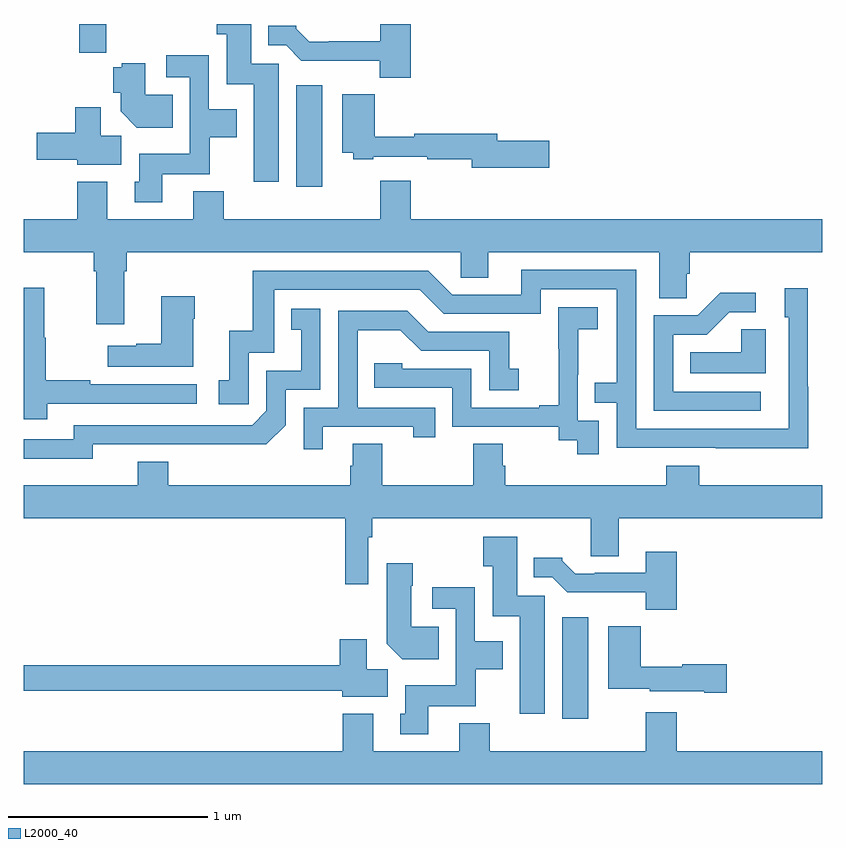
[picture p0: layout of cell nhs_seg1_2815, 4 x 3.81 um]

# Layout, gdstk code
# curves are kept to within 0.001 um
import gdstk
lib = gdstk.Library(unit=1e-6, precision=1e-09)
def R(c, l, rs):  # rectangles x0, y0, x1, y1
    for r in rs: c.add(gdstk.rectangle(r[:2], r[2:], *l))
def P(c, l, *ps):  # polygons
    for p in ps: c.add(gdstk.Polygon(p, *l))
L2000_40 = (2000, 40)

nhs_seg1_2815 = lib.new_cell('nhs_seg1_2815')
R(nhs_seg1_2815, L2000_40, [(265.697,558.72,265.828,559.228), (264.365,561.384,264.496,561.892), (264.509,562.198,264.649,562.199)])
P(nhs_seg1_2815, L2000_40, [(264.938,562.199),(264.785,562.199),(264.785,562.113),(264.529,562.113),(264.529,562.11),(264.43,562.11),(264.366,562.174),(264.366,562.189),(264.224,562.189),(264.224,562.092),(264.315,562.092),(264.391,562.016),(264.783,562.016),(264.783,561.929),(264.938,561.929)],
  [(263.413,562.168),(263.414,562.168),(263.414,562.199),(263.278,562.199),(263.278,562.056),(263.413,562.056)],
  [(264.277,561.999),(264.139,561.999),(264.139,562.199),(263.966,562.199),(263.966,562.147),(264.017,562.147),(264.017,561.896),(264.152,561.896),(264.152,561.408),(264.277,561.408)],
  [(263.695,561.446),(263.931,561.446),(263.931,561.632),(264.067,561.632),(264.067,561.772),(263.928,561.772),(263.928,562.042),(263.715,562.042),(263.715,561.933),(263.832,561.933),(263.832,561.55),(263.579,561.55),(263.579,561.408),(263.555,561.408),(263.555,561.306),(263.695,561.306)],
  [(263.747,561.844),(263.608,561.844),(263.608,562.002),(263.49,562.002),(263.49,561.982),(263.448,561.982),(263.448,561.854),(263.486,561.854),(263.486,561.761),(263.567,561.68),(263.747,561.68)],
  [(265.633,561.614),(265.372,561.614),(265.372,561.65),(264.956,561.65),(264.956,561.635),(264.758,561.635),(264.758,561.847),(264.596,561.847),(264.596,561.554),(264.651,561.554),(264.651,561.522),(264.751,561.522),(264.751,561.534),(265.021,561.534),(265.021,561.522),(265.244,561.522),(265.244,561.479),(265.633,561.479)],
  [(263.488,561.638),(263.386,561.638),(263.386,561.781),(263.257,561.781),(263.257,561.653),(263.064,561.653),(263.064,561.518),(263.268,561.518),(263.268,561.494),(263.488,561.494)],
  [(263.503,560.96),(263.516,560.96),(263.516,561.056),(265.188,561.056),(265.188,560.929),(265.327,560.929),(265.327,561.056),(266.183,561.056),(266.183,560.824),(266.322,560.824),(266.322,560.947),(266.336,560.947),(266.336,561.056),(267,561.056),(267,561.22),(264.938,561.22),(264.938,561.415),(264.785,561.415),(264.785,561.22),(264.002,561.22),(264.002,561.361),(263.849,561.361),(263.849,561.22),(263.419,561.22),(263.419,561.409),(263.267,561.409),(263.267,561.22),(263,561.22),(263,561.056),(263.351,561.056),(263.351,560.96),(263.363,560.96),(263.363,560.694),(263.503,560.694)],
  [(266.931,560.381),(266.928,560.381),(266.928,560.875),(266.813,560.875),(266.813,560.73),(266.832,560.73),(266.832,560.172),(266.067,560.172),(266.067,560.967),(265.493,560.967),(265.493,560.844),(265.146,560.844),(265.026,560.964),(264.147,560.964),(264.147,560.662),(264.029,560.662),(264.029,560.415),(263.976,560.415),(263.976,560.295),(264.126,560.295),(264.126,560.553),(264.255,560.553),(264.255,560.868),(264.984,560.868),(265.104,560.748),(265.59,560.748),(265.59,560.871),(265.971,560.871),(265.971,560.402),(265.861,560.402),(265.861,560.301),(265.971,560.301),(265.971,560.076),(266.931,560.075)],
  [(263.117,560.298),(263.866,560.298),(263.866,560.394),(263.333,560.394),(263.333,560.414),(263.11,560.414),(263.11,560.628),(263.102,560.628),(263.102,560.878),(263,560.878),(263,560.22),(263.117,560.22)],
  [(266.692,560.358),(266.253,560.358),(266.253,560.643),(266.422,560.643),(266.533,560.754),(266.668,560.754),(266.668,560.852),(266.489,560.852),(266.376,560.739),(266.157,560.739),(266.157,560.262),(266.692,560.262)],
  [(263.848,560.723),(263.856,560.723),(263.856,560.836),(263.69,560.836),(263.69,560.597),(263.564,560.597),(263.564,560.587),(263.421,560.587),(263.421,560.483),(263.848,560.483)],
  [(265.881,560.211),(265.776,560.211),(265.776,560.441),(265.778,560.441),(265.778,560.669),(265.876,560.669),(265.876,560.779),(265.678,560.779),(265.678,560.573),(265.679,560.573),(265.679,560.29),(265.583,560.29),(265.583,560.277),(265.242,560.277),(265.242,560.472),(264.897,560.472),(264.897,560.499),(264.757,560.499),(264.757,560.376),(265.146,560.376),(265.146,560.181),(265.68,560.181),(265.68,560.113),(265.773,560.113),(265.773,560.043),(265.881,560.043)],
  [(263.346,560.094),(264.214,560.093),(264.312,560.19),(264.312,560.367),(264.486,560.367),(264.486,560.773),(264.34,560.773),(264.34,560.667),(264.389,560.667),(264.389,560.463),(264.216,560.463),(264.216,560.262),(264.144,560.19),(263.25,560.19),(263.25,560.118),(263,560.118),(263,560.021),(263.346,560.021)],
  [(264.499,560.181),(264.95,560.181),(264.95,560.13),(265.061,560.13),(265.061,560.277),(264.672,560.277),(264.672,560.666),(264.886,560.666),(264.99,560.562),(265.332,560.562),(265.332,560.364),(265.48,560.364),(265.48,560.473),(265.431,560.473),(265.431,560.658),(265.027,560.658),(264.922,560.763),(264.576,560.763),(264.576,560.277),(264.402,560.277),(264.402,560.07),(264.499,560.07)],
  [(266.716,560.669),(266.595,560.669),(266.595,560.554),(266.338,560.554),(266.338,560.45),(266.716,560.45)],
  [(264.726,559.628),(264.746,559.628),(264.746,559.724),(265.841,559.724),(265.841,559.534),(265.981,559.534),(265.981,559.724),(267,559.724),(267,559.888),(266.384,559.888),(266.384,559.987),(266.219,559.987),(266.219,559.888),(265.412,559.888),(265.412,559.986),(265.399,559.986),(265.399,560.096),(265.252,560.096),(265.252,559.888),(264.795,559.888),(264.795,560.096),(264.647,560.096),(264.647,559.986),(264.635,559.986),(264.635,559.888),(263.723,559.888),(263.723,560.005),(263.57,560.005),(263.57,559.888),(263,559.888),(263,559.724),(264.61,559.724),(264.61,559.392),(264.726,559.392)],
  [(265.609,559.335),(265.471,559.335),(265.471,559.63),(265.303,559.63),(265.303,559.483),(265.349,559.483),(265.349,559.232),(265.484,559.232),(265.484,558.744),(265.609,558.744)],
  [(266.27,559.555),(266.117,559.555),(266.117,559.449),(265.861,559.449),(265.861,559.446),(265.762,559.446),(265.698,559.51),(265.698,559.525),(265.556,559.525),(265.556,559.428),(265.647,559.428),(265.723,559.352),(266.115,559.352),(266.115,559.265),(266.27,559.265)],
  [(265.079,559.18),(264.94,559.18),(264.94,559.385),(264.948,559.385),(264.948,559.498),(264.818,559.498),(264.818,559.094),(264.896,559.016),(265.079,559.016)],
  [(265.027,558.782),(265.263,558.782),(265.263,558.968),(265.399,558.968),(265.399,559.108),(265.26,559.108),(265.26,559.378),(265.047,559.378),(265.047,559.269),(265.164,559.269),(265.164,558.886),(264.911,558.886),(264.911,558.744),(264.887,558.744),(264.887,558.642),(265.027,558.642)],
  [(266.521,558.992),(266.298,558.992),(266.298,558.979),(266.09,558.979),(266.09,559.183),(265.928,559.183),(265.928,558.869),(266.136,558.869),(266.136,558.857),(266.408,558.857),(266.408,558.85),(266.521,558.85)],
  [(264.823,558.968),(264.718,558.968),(264.718,559.117),(264.584,559.117),(264.584,558.986),(263,558.986),(263,558.858),(264.596,558.858),(264.596,558.83),(264.823,558.83)],
  [(267,558.556),(266.27,558.556),(266.27,558.751),(266.117,558.751),(266.117,558.556),(265.334,558.556),(265.334,558.697),(265.181,558.697),(265.181,558.556),(264.751,558.556),(264.751,558.745),(264.599,558.745),(264.599,558.556),(263,558.556),(263,558.392),(267,558.392)])

lib.write_gds('nhs_seg1_2815.gds')
